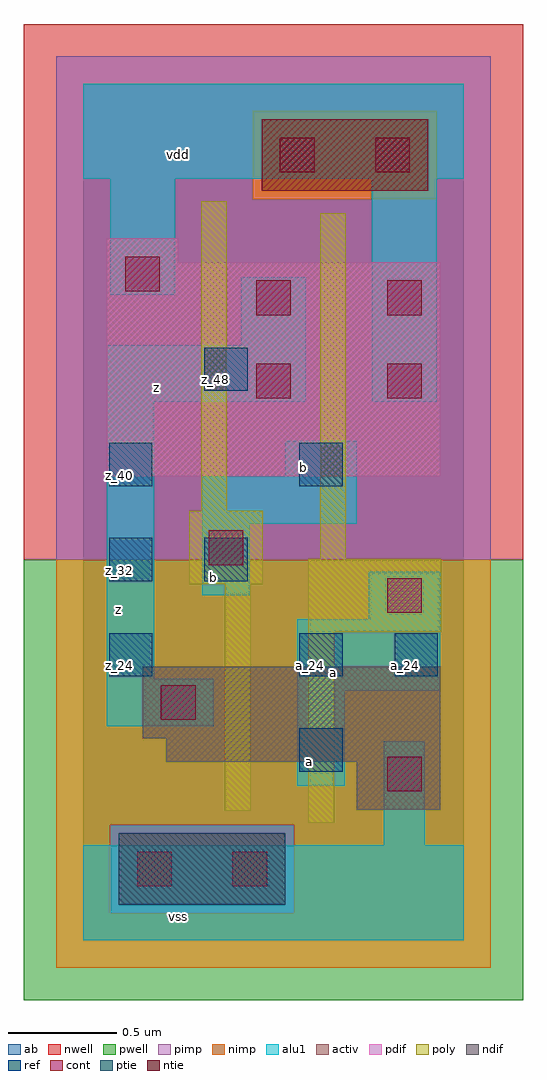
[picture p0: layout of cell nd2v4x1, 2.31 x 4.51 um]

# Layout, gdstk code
import gdstk
lib = gdstk.Library(unit=1e-6, precision=2.5e-09)
def R(c, l, rs):  # rectangles x0, y0, x1, y1
    for r in rs: c.add(gdstk.rectangle(r[:2], r[2:], *l))
def A(c, l, x, y, w, h, nx, ny, dx, dy):  # array of equal rectangles
    R(c, l, [(x+i*dx, y+j*dy, x+i*dx+w, y+j*dy+h) for i in range(nx) for j in range(ny)])
ndif = (3, 0)
pdif = (4, 0)
ntie = (5, 0)
ptie = (6, 0)
ref = (24, 0)
cont = (25, 0)
pwell = (41, 0)
nwell = (42, 0)
activ = (43, 0)
pimp = (44, 0)
nimp = (45, 0)
poly = (46, 0)
alu1 = (49, 0)
ab = (63, 0)

nd2v4x1 = lib.new_cell('nd2v4x1')
R(nd2v4x1, ndif, [(1.265,0.605,1.65,0.825), (0.385,0.825,1.65,0.935), (0.275,0.935,1.65,1.265)])
R(nd2v4x1, pdif, [(0.11,2.145,1.65,3.135), (0.11,3.135,0.44,3.245)])
R(nd2v4x1, ntie, [(0.825,3.465,1.595,3.795)])
R(nd2v4x1, ptie, [(0.165,0.165,0.935,0.495)])
A(nd2v4x1, ref, 0.12, 1.22, 0.2, 0.2, 1, 3, 0, 0.44)
R(nd2v4x1, ref, [(1,0.78,1.2,0.98), (1,1.22,1.2,1.42), (1.44,1.22,1.64,1.42), (0.56,1.66,0.76,1.86), (1,2.1,1.2,2.3), (0.56,2.54,0.76,2.74)])
R(nd2v4x1, cont, [(0.25,0.25,0.41,0.41), (0.69,0.25,0.85,0.41), (1.405,0.69,1.565,0.85), (0.36,1.02,0.52,1.18), (1.405,1.515,1.565,1.675), (0.58,1.735,0.74,1.895), (0.8,2.505,0.96,2.665), (1.405,2.505,1.565,2.665), (0.8,2.89,0.96,3.05), (1.405,2.89,1.565,3.05), (0.195,3,0.355,3.16), (0.91,3.55,1.07,3.71), (1.35,3.55,1.51,3.71)])
R(nd2v4x1, pwell, [(-0.275,-0.275,2.035,1.76)])
R(nd2v4x1, nwell, [(-0.275,1.76,2.035,4.235)])
R(nd2v4x1, activ, [(0.165,0.165,0.935,0.495), (1.265,0.605,1.65,0.825), (0.385,0.825,1.65,0.935), (0.275,0.935,1.65,1.265), (0.11,2.145,1.65,3.135), (0.11,3.135,0.44,3.245), (0.825,3.465,1.595,3.795)])
R(nd2v4x1, pimp, [(0.125,0.125,0.975,0.535), (-0.125,1.76,1.885,3.425), (-0.125,3.425,0.785,3.835), (1.635,3.425,1.885,3.835), (-0.125,3.835,1.885,4.085)])
R(nd2v4x1, nimp, [(-0.125,-0.125,1.885,0.125), (-0.125,0.125,0.125,0.535), (0.975,0.125,1.885,0.535), (-0.125,0.535,1.885,1.76), (0.785,3.425,1.635,3.835)])
R(nd2v4x1, poly, [(1.04,0.545,1.16,1.425), (0.655,0.6,0.775,1.645), (1.04,1.425,1.655,1.765), (0.49,1.645,0.83,1.985), (1.095,1.765,1.215,3.36), (0.545,1.985,0.665,3.415)])
R(nd2v4x1, alu1, [(0,0,1.76,0.44), (1.39,0.44,1.58,0.92), (0.99,0.715,1.21,1.155), (0.11,0.99,0.605,1.21), (0.99,1.155,1.65,1.485), (0.11,1.21,0.33,2.49), (1.32,1.485,1.65,1.705), (0.55,1.595,0.77,1.925), (0.55,1.925,1.265,2.145), (0.935,2.145,1.265,2.31), (0.11,2.49,1.03,2.75), (1.335,2.49,1.635,3.52), (0.73,2.75,1.03,3.065), (0.125,2.985,0.425,3.52), (0,3.52,1.76,3.96)])
R(nd2v4x1, ab, [(0,0,1.76,3.96)])
nd2v4x1.add(gdstk.Label('vss', (0.44,0.11), layer=49, texttype=0))
nd2v4x1.add(gdstk.Label('a', (1.045,0.825), layer=49, texttype=0))
nd2v4x1.add(gdstk.Label('a', (1.155,1.2375), layer=49, texttype=0))
nd2v4x1.add(gdstk.Label('b', (0.605,1.6775), layer=49, texttype=0))
nd2v4x1.add(gdstk.Label('b', (1.0175,2.185), layer=49, texttype=0))
nd2v4x1.add(gdstk.Label('z', (0.165,1.53), layer=49, texttype=0))
nd2v4x1.add(gdstk.Label('z', (0.34,2.555), layer=49, texttype=0))
nd2v4x1.add(gdstk.Label('vdd', (0.44,3.63), layer=49, texttype=0))
nd2v4x1.add(gdstk.Label('b_32', (0.61,1.71), layer=24, texttype=0))
nd2v4x1.add(gdstk.Label('z_48', (0.61,2.59), layer=24, texttype=0))
nd2v4x1.add(gdstk.Label('a_24', (1.05,1.27), layer=24, texttype=0))
nd2v4x1.add(gdstk.Label('b_40', (1.05,2.15), layer=24, texttype=0))
nd2v4x1.add(gdstk.Label('a_24', (1.49,1.27), layer=24, texttype=0))
nd2v4x1.add(gdstk.Label('z_24', (0.17,1.27), layer=24, texttype=0))
nd2v4x1.add(gdstk.Label('z_32', (0.17,1.71), layer=24, texttype=0))
nd2v4x1.add(gdstk.Label('z_40', (0.17,2.15), layer=24, texttype=0))
nd2v4x1.add(gdstk.Label('a_16', (1.05,0.83), layer=24, texttype=0))

lib.write_gds('nd2v4x1.gds')
